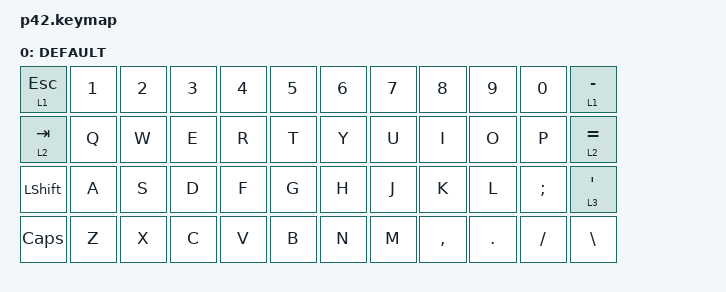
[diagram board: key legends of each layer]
#include <behaviors.dtsi>
#include <dt-bindings/zmk/bt.h>
#include <dt-bindings/zmk/keys.h>
#include <dt-bindings/zmk/outputs.h>
#include <dt-bindings/zmk/pointing.h>
#include <dt-bindings/zmk/pointing.h>

#define DEFAULT 0
#define NUMBER  1

&lt {
    tapping-term-ms = <200>;
    flavor = "balanced";
    quick-tap-ms = <170>;
};

/ {
 
    keymap {
        compatible = "zmk,keymap";

        default_layer {
            label = "DEFAULT";
            bindings = <
&lt 1 ESC  &kp N1  &kp N2     &kp N3    &kp N4     &kp N5        &kp N6  &kp N7   &kp N8     &kp N9    &kp N0    &lt 1 MINUS
&lt 2 TAB  &kp Q   &kp W      &kp E     &kp R      &kp T         &kp Y   &kp U    &kp I      &kp O     &kp P     &lt 2 EQUAL
&kp LSHFT  &kp A   &kp S      &kp D     &kp F      &kp G         &kp H   &kp J    &kp K      &kp L     &kp SEMI  &lt 3 SQT
&kp CAPS   &kp Z   &kp X      &kp C     &kp V      &kp B         &kp N   &kp M    &kp COMMA  &kp DOT   &kp FSLH  &kp BSLH
            >;
        };



    };
};
